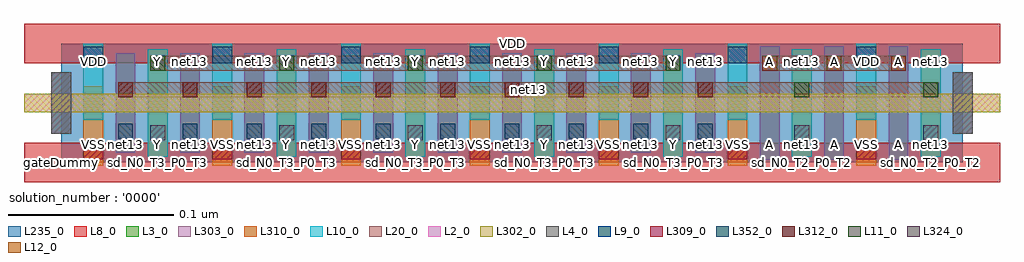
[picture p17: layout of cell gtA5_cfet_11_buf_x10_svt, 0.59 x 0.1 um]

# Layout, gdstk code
import gdstk
lib = gdstk.Library(unit=1e-6, precision=2.5e-10)
def R(c, l, rs):  # rectangles x0, y0, x1, y1
    for r in rs: c.add(gdstk.rectangle(r[:2], r[2:], *l))
def A(c, l, x, y, w, h, nx, ny, dx, dy):  # array of equal rectangles
    R(c, l, [(x+i*dx, y+j*dy, x+i*dx+w, y+j*dy+h) for i in range(nx) for j in range(ny)])
L2_0 = (2, 0)
L3_0 = (3, 0)
L4_0 = (4, 0)
L8_0 = (8, 0)
L9_0 = (9, 0)
L10_0 = (10, 0)
L11_0 = (11, 0)
L12_0 = (12, 0)
L20_0 = (20, 0)
L235_0 = (235, 0)
L302_0 = (302, 0)
L303_0 = (303, 0)
L309_0 = (309, 0)
L310_0 = (310, 0)
L312_0 = (312, 0)
L324_0 = (324, 0)
L352_0 = (352, 0)

gta5_cfet_11_buf_x10_svt = lib.new_cell('gtA5_cfet_11_buf_x10_svt')
R(gta5_cfet_11_buf_x10_svt, L2_0, [(-0.0225,0.0305,0.5685,0.0415)])
A(gta5_cfet_11_buf_x10_svt, L3_0, 0.423, 0.0015, 0.012, 0.069, 3, 1, 0.039, 0)
A(gta5_cfet_11_buf_x10_svt, L3_0, 0.033, 0.006, 0.012, 0.06, 10, 1, 0.039, 0)
R(gta5_cfet_11_buf_x10_svt, L3_0, [(-0.006,0.0175,0.006,0.0545), (0.54,0.0175,0.552,0.0545)])
R(gta5_cfet_11_buf_x10_svt, L4_0, [(-0.006,0.0175,0.006,0.0545), (0.54,0.0175,0.552,0.0545)])
R(gta5_cfet_11_buf_x10_svt, L8_0, [(-0.0225,-0.012,0.5685,0.012), (-0.0225,0.06,0.5685,0.084)])
A(gta5_cfet_11_buf_x10_svt, L9_0, 0.0135, 0.06, 0.012, 0.01, 7, 1, 0.078, 0)
A(gta5_cfet_11_buf_x10_svt, L10_0, 0.0525, 0.0035, 0.012, 0.065, 7, 1, 0.078, 0)
A(gta5_cfet_11_buf_x10_svt, L10_0, 0.0135, 0.026, 0.012, 0.046, 7, 1, 0.078, 0)
A(gta5_cfet_11_buf_x10_svt, L11_0, 0.054, 0.0555, 0.009, 0.009, 5, 1, 0.078, 0)
R(gta5_cfet_11_buf_x10_svt, L11_0, [(0.444,0.0395,0.453,0.0485), (0.522,0.0395,0.531,0.0485)])
A(gta5_cfet_11_buf_x10_svt, L12_0, 0.4245, 0.0555, 0.009, 0.009, 3, 1, 0.039, 0)
R(gta5_cfet_11_buf_x10_svt, L20_0, [(0.0345,0.0395,0.531,0.0485), (0.054,0.0555,0.375,0.0645), (0.4245,0.0555,0.5115,0.0645)])
R(gta5_cfet_11_buf_x10_svt, L235_0, [(0,0,0.546,0.072)])
R(gta5_cfet_11_buf_x10_svt, L302_0, [(-0.0225,0.0305,0.5685,0.0415)])
A(gta5_cfet_11_buf_x10_svt, L303_0, 0.423, 0.0015, 0.012, 0.069, 3, 1, 0.039, 0)
A(gta5_cfet_11_buf_x10_svt, L303_0, 0.033, 0.006, 0.012, 0.06, 10, 1, 0.039, 0)
R(gta5_cfet_11_buf_x10_svt, L303_0, [(-0.006,0.0175,0.006,0.0545), (0.54,0.0175,0.552,0.0545)])
A(gta5_cfet_11_buf_x10_svt, L309_0, 0.0135, 0.002, 0.012, 0.01, 7, 1, 0.078, 0)
A(gta5_cfet_11_buf_x10_svt, L310_0, 0.0135, -0.002, 0.012, 0.048, 7, 1, 0.078, 0)
A(gta5_cfet_11_buf_x10_svt, L310_0, 0.0525, 0.0035, 0.012, 0.065, 7, 1, 0.078, 0)
A(gta5_cfet_11_buf_x10_svt, L312_0, 0.0345, 0.0395, 0.009, 0.009, 10, 1, 0.039, 0)
A(gta5_cfet_11_buf_x10_svt, L324_0, 0.054, 0.0135, 0.009, 0.009, 7, 1, 0.078, 0)
A(gta5_cfet_11_buf_x10_svt, L352_0, 0.0345, 0.0145, 0.009, 0.009, 10, 1, 0.039, 0)
gta5_cfet_11_buf_x10_svt.add(gdstk.Label('net13', (0.2828,0.044), layer=100, texttype=100))
gta5_cfet_11_buf_x10_svt.add(gdstk.Label('gateDummy', (0,0), layer=103, texttype=103))
gta5_cfet_11_buf_x10_svt.add(gdstk.Label('sd_N0_VSS_P0_VDD', (0.0195,0), layer=103, texttype=103))
gta5_cfet_11_buf_x10_svt.add(gdstk.Label('gate_N0_T2_P0_T2', (0.039,0), layer=103, texttype=103))
gta5_cfet_11_buf_x10_svt.add(gdstk.Label('sd_N0_T3_P0_T3', (0.0585,0), layer=103, texttype=103))
gta5_cfet_11_buf_x10_svt.add(gdstk.Label('gate_N0_T2_P0_T2', (0.078,0), layer=103, texttype=103))
gta5_cfet_11_buf_x10_svt.add(gdstk.Label('sd_N0_VSS_P0_VDD', (0.0975,0), layer=103, texttype=103))
gta5_cfet_11_buf_x10_svt.add(gdstk.Label('gate_N0_T2_P0_T2', (0.117,0), layer=103, texttype=103))
gta5_cfet_11_buf_x10_svt.add(gdstk.Label('sd_N0_T3_P0_T3', (0.1365,0), layer=103, texttype=103))
gta5_cfet_11_buf_x10_svt.add(gdstk.Label('gate_N0_T2_P0_T2', (0.156,0), layer=103, texttype=103))
gta5_cfet_11_buf_x10_svt.add(gdstk.Label('sd_N0_VSS_P0_VDD', (0.1755,0), layer=103, texttype=103))
gta5_cfet_11_buf_x10_svt.add(gdstk.Label('gate_N0_T2_P0_T2', (0.195,0), layer=103, texttype=103))
gta5_cfet_11_buf_x10_svt.add(gdstk.Label('sd_N0_T3_P0_T3', (0.2145,0), layer=103, texttype=103))
gta5_cfet_11_buf_x10_svt.add(gdstk.Label('gate_N0_T2_P0_T2', (0.234,0), layer=103, texttype=103))
gta5_cfet_11_buf_x10_svt.add(gdstk.Label('sd_N0_VSS_P0_VDD', (0.2535,0), layer=103, texttype=103))
gta5_cfet_11_buf_x10_svt.add(gdstk.Label('gate_N0_T2_P0_T2', (0.273,0), layer=103, texttype=103))
gta5_cfet_11_buf_x10_svt.add(gdstk.Label('sd_N0_T3_P0_T3', (0.2925,0), layer=103, texttype=103))
gta5_cfet_11_buf_x10_svt.add(gdstk.Label('gate_N0_T2_P0_T2', (0.312,0), layer=103, texttype=103))
gta5_cfet_11_buf_x10_svt.add(gdstk.Label('sd_N0_VSS_P0_VDD', (0.3315,0), layer=103, texttype=103))
gta5_cfet_11_buf_x10_svt.add(gdstk.Label('gate_N0_T2_P0_T2', (0.351,0), layer=103, texttype=103))
gta5_cfet_11_buf_x10_svt.add(gdstk.Label('sd_N0_T3_P0_T3', (0.3705,0), layer=103, texttype=103))
gta5_cfet_11_buf_x10_svt.add(gdstk.Label('gate_N0_T2_P0_T2', (0.39,0), layer=103, texttype=103))
gta5_cfet_11_buf_x10_svt.add(gdstk.Label('sd_N0_VSS_P0_VDD', (0.4095,0), layer=103, texttype=103))
gta5_cfet_11_buf_x10_svt.add(gdstk.Label('gate_N0_T3_P0_T3', (0.429,0), layer=103, texttype=103))
gta5_cfet_11_buf_x10_svt.add(gdstk.Label('sd_N0_T2_P0_T2', (0.4485,0), layer=103, texttype=103))
gta5_cfet_11_buf_x10_svt.add(gdstk.Label('gate_N0_T3_P0_T3', (0.468,0), layer=103, texttype=103))
gta5_cfet_11_buf_x10_svt.add(gdstk.Label('sd_N0_VSS_P0_VDD', (0.4875,0), layer=103, texttype=103))
gta5_cfet_11_buf_x10_svt.add(gdstk.Label('gate_N0_T3_P0_T3', (0.507,0), layer=103, texttype=103))
gta5_cfet_11_buf_x10_svt.add(gdstk.Label('sd_N0_T2_P0_T2', (0.5265,0), layer=103, texttype=103))
gta5_cfet_11_buf_x10_svt.add(gdstk.Label('gateDummy', (0.546,0), layer=103, texttype=103))
gta5_cfet_11_buf_x10_svt.add(gdstk.Label('}', (0,-0.0785), layer=104, texttype=104))
gta5_cfet_11_buf_x10_svt.add(gdstk.Label('  power : None', (0,-0.0713), layer=104, texttype=104))
gta5_cfet_11_buf_x10_svt.add(gdstk.Label('  performance : None', (0,-0.0643), layer=104, texttype=104))
gta5_cfet_11_buf_x10_svt.add(gdstk.Label("  solution_hash : '15093781824603229449'", (0,-0.057), layer=104, texttype=104))
gta5_cfet_11_buf_x10_svt.add(gdstk.Label('  number_m2 : 0', (0,-0.05), layer=104, texttype=104))
gta5_cfet_11_buf_x10_svt.add(gdstk.Label('  number_m1 : 0', (0,-0.0428), layer=104, texttype=104))
gta5_cfet_11_buf_x10_svt.add(gdstk.Label('  number_m0cuts : 0', (0,-0.0358), layer=104, texttype=104))
gta5_cfet_11_buf_x10_svt.add(gdstk.Label('  number_m0 : 3', (0,-0.0285), layer=104, texttype=104))
gta5_cfet_11_buf_x10_svt.add(gdstk.Label("  solution_number : '0000'", (0,-0.0215), layer=104, texttype=104))
gta5_cfet_11_buf_x10_svt.add(gdstk.Label("  placement_id : '14615283006639497839'", (0,-0.0143), layer=104, texttype=104))
gta5_cfet_11_buf_x10_svt.add(gdstk.Label('{', (0,-0.0073), layer=104, texttype=104))
gta5_cfet_11_buf_x10_svt.add(gdstk.Label('VSS', (0.0195,0.0108), layer=105, texttype=105))
gta5_cfet_11_buf_x10_svt.add(gdstk.Label('net13', (0.039,0.0108), layer=105, texttype=105))
gta5_cfet_11_buf_x10_svt.add(gdstk.Label('Y', (0.0585,0.0108), layer=105, texttype=105))
gta5_cfet_11_buf_x10_svt.add(gdstk.Label('net13', (0.078,0.0108), layer=105, texttype=105))
gta5_cfet_11_buf_x10_svt.add(gdstk.Label('VSS', (0.0975,0.0108), layer=105, texttype=105))
gta5_cfet_11_buf_x10_svt.add(gdstk.Label('net13', (0.117,0.0108), layer=105, texttype=105))
gta5_cfet_11_buf_x10_svt.add(gdstk.Label('Y', (0.1365,0.0108), layer=105, texttype=105))
gta5_cfet_11_buf_x10_svt.add(gdstk.Label('net13', (0.156,0.0108), layer=105, texttype=105))
gta5_cfet_11_buf_x10_svt.add(gdstk.Label('VSS', (0.1755,0.0108), layer=105, texttype=105))
gta5_cfet_11_buf_x10_svt.add(gdstk.Label('net13', (0.195,0.0108), layer=105, texttype=105))
gta5_cfet_11_buf_x10_svt.add(gdstk.Label('Y', (0.2145,0.0108), layer=105, texttype=105))
gta5_cfet_11_buf_x10_svt.add(gdstk.Label('net13', (0.234,0.0108), layer=105, texttype=105))
gta5_cfet_11_buf_x10_svt.add(gdstk.Label('VSS', (0.2535,0.0108), layer=105, texttype=105))
gta5_cfet_11_buf_x10_svt.add(gdstk.Label('net13', (0.273,0.0108), layer=105, texttype=105))
gta5_cfet_11_buf_x10_svt.add(gdstk.Label('Y', (0.2925,0.0108), layer=105, texttype=105))
gta5_cfet_11_buf_x10_svt.add(gdstk.Label('net13', (0.312,0.0108), layer=105, texttype=105))
gta5_cfet_11_buf_x10_svt.add(gdstk.Label('VSS', (0.3315,0.0108), layer=105, texttype=105))
gta5_cfet_11_buf_x10_svt.add(gdstk.Label('net13', (0.351,0.0108), layer=105, texttype=105))
gta5_cfet_11_buf_x10_svt.add(gdstk.Label('Y', (0.3705,0.0108), layer=105, texttype=105))
gta5_cfet_11_buf_x10_svt.add(gdstk.Label('net13', (0.39,0.0108), layer=105, texttype=105))
gta5_cfet_11_buf_x10_svt.add(gdstk.Label('VSS', (0.4095,0.0108), layer=105, texttype=105))
gta5_cfet_11_buf_x10_svt.add(gdstk.Label('A', (0.429,0.0108), layer=105, texttype=105))
gta5_cfet_11_buf_x10_svt.add(gdstk.Label('net13', (0.4485,0.0108), layer=105, texttype=105))
gta5_cfet_11_buf_x10_svt.add(gdstk.Label('A', (0.468,0.0108), layer=105, texttype=105))
gta5_cfet_11_buf_x10_svt.add(gdstk.Label('VSS', (0.4875,0.0108), layer=105, texttype=105))
gta5_cfet_11_buf_x10_svt.add(gdstk.Label('A', (0.507,0.0108), layer=105, texttype=105))
gta5_cfet_11_buf_x10_svt.add(gdstk.Label('net13', (0.5265,0.0108), layer=105, texttype=105))
gta5_cfet_11_buf_x10_svt.add(gdstk.Label('VDD', (0.0195,0.0612), layer=105, texttype=105))
gta5_cfet_11_buf_x10_svt.add(gdstk.Label('net13', (0.039,0.0612), layer=105, texttype=105))
gta5_cfet_11_buf_x10_svt.add(gdstk.Label('Y', (0.0585,0.0612), layer=105, texttype=105))
gta5_cfet_11_buf_x10_svt.add(gdstk.Label('net13', (0.078,0.0612), layer=105, texttype=105))
gta5_cfet_11_buf_x10_svt.add(gdstk.Label('VDD', (0.0975,0.0612), layer=105, texttype=105))
gta5_cfet_11_buf_x10_svt.add(gdstk.Label('net13', (0.117,0.0612), layer=105, texttype=105))
gta5_cfet_11_buf_x10_svt.add(gdstk.Label('Y', (0.1365,0.0612), layer=105, texttype=105))
gta5_cfet_11_buf_x10_svt.add(gdstk.Label('net13', (0.156,0.0612), layer=105, texttype=105))
gta5_cfet_11_buf_x10_svt.add(gdstk.Label('VDD', (0.1755,0.0612), layer=105, texttype=105))
gta5_cfet_11_buf_x10_svt.add(gdstk.Label('net13', (0.195,0.0612), layer=105, texttype=105))
gta5_cfet_11_buf_x10_svt.add(gdstk.Label('Y', (0.2145,0.0612), layer=105, texttype=105))
gta5_cfet_11_buf_x10_svt.add(gdstk.Label('net13', (0.234,0.0612), layer=105, texttype=105))
gta5_cfet_11_buf_x10_svt.add(gdstk.Label('VDD', (0.2535,0.0612), layer=105, texttype=105))
gta5_cfet_11_buf_x10_svt.add(gdstk.Label('net13', (0.273,0.0612), layer=105, texttype=105))
gta5_cfet_11_buf_x10_svt.add(gdstk.Label('Y', (0.2925,0.0612), layer=105, texttype=105))
gta5_cfet_11_buf_x10_svt.add(gdstk.Label('net13', (0.312,0.0612), layer=105, texttype=105))
gta5_cfet_11_buf_x10_svt.add(gdstk.Label('VDD', (0.3315,0.0612), layer=105, texttype=105))
gta5_cfet_11_buf_x10_svt.add(gdstk.Label('net13', (0.351,0.0612), layer=105, texttype=105))
gta5_cfet_11_buf_x10_svt.add(gdstk.Label('Y', (0.3705,0.0612), layer=105, texttype=105))
gta5_cfet_11_buf_x10_svt.add(gdstk.Label('net13', (0.39,0.0612), layer=105, texttype=105))
gta5_cfet_11_buf_x10_svt.add(gdstk.Label('VDD', (0.4095,0.0612), layer=105, texttype=105))
gta5_cfet_11_buf_x10_svt.add(gdstk.Label('A', (0.429,0.0612), layer=105, texttype=105))
gta5_cfet_11_buf_x10_svt.add(gdstk.Label('net13', (0.4485,0.0612), layer=105, texttype=105))
gta5_cfet_11_buf_x10_svt.add(gdstk.Label('A', (0.468,0.0612), layer=105, texttype=105))
gta5_cfet_11_buf_x10_svt.add(gdstk.Label('VDD', (0.4875,0.0612), layer=105, texttype=105))
gta5_cfet_11_buf_x10_svt.add(gdstk.Label('A', (0.507,0.0612), layer=105, texttype=105))
gta5_cfet_11_buf_x10_svt.add(gdstk.Label('net13', (0.5265,0.0612), layer=105, texttype=105))
gta5_cfet_11_buf_x10_svt.add(gdstk.Label('VSS', (0.273,0), layer=8, texttype=0))
gta5_cfet_11_buf_x10_svt.add(gdstk.Label('VDD', (0.273,0.072), layer=8, texttype=0))
gta5_cfet_11_buf_x10_svt.add(gdstk.Label('Y', (0.2145,0.06), layer=20, texttype=251))
gta5_cfet_11_buf_x10_svt.add(gdstk.Label('A', (0.468,0.06), layer=20, texttype=251))
gta5_cfet_11_buf_x10_svt.add(gdstk.Label('gtA5_cfet_11_buf_x10_rvt_0', (0,0), layer=235, texttype=0))

lib.write_gds('gtA5_cfet_11_buf_x10_svt.gds')
